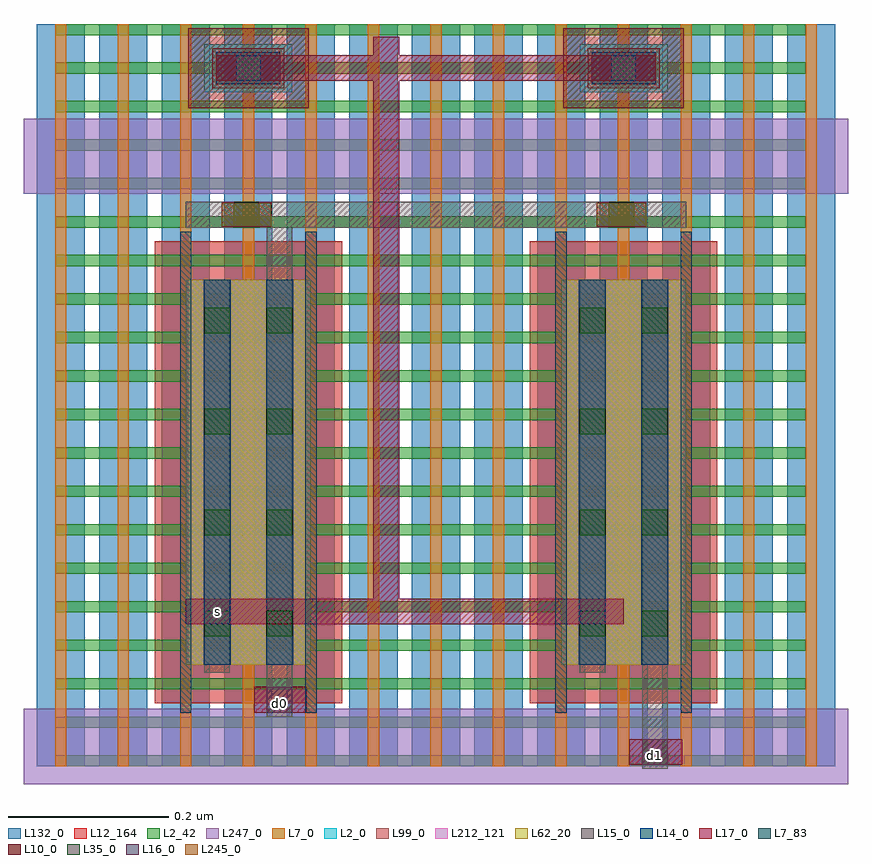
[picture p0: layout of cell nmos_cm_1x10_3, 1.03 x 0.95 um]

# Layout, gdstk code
import gdstk
lib = gdstk.Library(unit=1e-6, precision=1e-12)
def R(c, l, rs):  # rectangles x0, y0, x1, y1
    for r in rs: c.add(gdstk.rectangle(r[:2], r[2:], *l))
def A(c, l, x, y, w, h, nx, ny, dx, dy):  # array of equal rectangles
    R(c, l, [(x+i*dx, y+j*dy, x+i*dx+w, y+j*dy+h) for i in range(nx) for j in range(ny)])
L2_0 = (2, 0)
L2_42 = (2, 42)
L7_0 = (7, 0)
L7_83 = (7, 83)
L10_0 = (10, 0)
L12_164 = (12, 164)
L14_0 = (14, 0)
L15_0 = (15, 0)
L16_0 = (16, 0)
L17_0 = (17, 0)
L35_0 = (35, 0)
L62_20 = (62, 20)
L99_0 = (99, 0)
L132_0 = (132, 0)
L212_121 = (212, 121)
L245_0 = (245, 0)
L247_0 = (247, 0)

nmos_cm_1x10_3 = lib.new_cell('nmos_cm_1x10_3')
R(nmos_cm_1x10_3, L2_0, [(0.186,0.127,0.342,0.607), (0.654,0.127,0.81,0.607), (0.209,0.841,0.319,0.901), (0.677,0.841,0.787,0.901)])
A(nmos_cm_1x10_3, L2_42, 0.023, 0, 0.936, 0.014, 1, 20, 0, 0.048)
A(nmos_cm_1x10_3, L7_0, 0.023, 0, 0.014, 0.926, 13, 1, 0.078, 0)
R(nmos_cm_1x10_3, L7_83, [(0.179,0.067,0.193,0.667), (0.335,0.067,0.349,0.667), (0.647,0.067,0.661,0.667), (0.803,0.067,0.817,0.667)])
R(nmos_cm_1x10_3, L10_0, [(0.189,0.821,0.339,0.921), (0.657,0.821,0.807,0.921)])
R(nmos_cm_1x10_3, L12_164, [(0.147,0.079,0.381,0.655), (0.615,0.079,0.849,0.655)])
R(nmos_cm_1x10_3, L14_0, [(0.208,0.127,0.242,0.607), (0.286,0.127,0.32,0.607), (0.676,0.127,0.71,0.607), (0.754,0.127,0.788,0.607), (0.224,0.851,0.304,0.891), (0.692,0.851,0.772,0.891)])
R(nmos_cm_1x10_3, L15_0, [(0.755,-0.003,0.787,0.122), (0.287,0.062,0.319,0.122), (0.209,0.117,0.241,0.607), (0.287,0.117,0.319,0.607), (0.677,0.117,0.709,0.607), (0.755,0.117,0.787,0.607), (0.287,0.606,0.319,0.704), (0.186,0.672,0.342,0.704), (0.186,0.672,0.654,0.704), (0.654,0.672,0.81,0.704), (0.224,0.855,0.304,0.887), (0.692,0.855,0.772,0.887)])
R(nmos_cm_1x10_3, L16_0, [(0.755,0.002,0.787,0.034), (0.287,0.067,0.319,0.099), (0.209,0.177,0.241,0.209), (0.677,0.177,0.709,0.209), (0.248,0.855,0.28,0.887), (0.716,0.855,0.748,0.887)])
R(nmos_cm_1x10_3, L17_0, [(0.739,0.002,0.805,0.034), (0.271,0.067,0.337,0.099), (0.186,0.177,0.264,0.209), (0.186,0.177,0.654,0.209), (0.42,0.177,0.452,0.91), (0.654,0.177,0.732,0.209), (0.224,0.855,0.304,0.887), (0.264,0.855,0.732,0.887), (0.692,0.855,0.772,0.887)])
A(nmos_cm_1x10_3, L35_0, 0.209, 0.162, 0.032, 0.032, 1, 4, 0, 0.126)
A(nmos_cm_1x10_3, L35_0, 0.287, 0.162, 0.032, 0.032, 1, 4, 0, 0.126)
A(nmos_cm_1x10_3, L35_0, 0.677, 0.162, 0.032, 0.032, 1, 4, 0, 0.126)
A(nmos_cm_1x10_3, L35_0, 0.755, 0.162, 0.032, 0.032, 1, 4, 0, 0.126)
R(nmos_cm_1x10_3, L35_0, [(0.2455,0.672,0.2775,0.704), (0.7135,0.672,0.7455,0.704), (0.248,0.855,0.28,0.887), (0.716,0.855,0.748,0.887)])
R(nmos_cm_1x10_3, L62_20, [(0.186,0.127,0.342,0.607), (0.654,0.127,0.81,0.607)])
R(nmos_cm_1x10_3, L99_0, [(0.186,0.127,0.342,0.607), (0.654,0.127,0.81,0.607), (0.219,0.846,0.309,0.896), (0.687,0.846,0.777,0.896)])
A(nmos_cm_1x10_3, L132_0, 0, 0, 0.06, 0.926, 13, 1, 0.078, 0)
R(nmos_cm_1x10_3, L212_121, [(0.186,0.127,0.342,0.607), (0.654,0.127,0.81,0.607)])
R(nmos_cm_1x10_3, L245_0, [(0.2305,0.673,0.2925,0.703), (0.6985,0.673,0.7605,0.703)])
R(nmos_cm_1x10_3, L247_0, [(-0.016,-0.022,0.544,0.072), (0.452,-0.022,1.012,0.072), (-0.016,0.714,0.544,0.808), (0.452,0.714,1.012,0.808)])
nmos_cm_1x10_3.add(gdstk.Label('d0', (0.303,0.078), layer=15, texttype=20))
nmos_cm_1x10_3.add(gdstk.Label('d1', (0.771,0.013), layer=15, texttype=20))
nmos_cm_1x10_3.add(gdstk.Label('s', (0.225,0.193), layer=15, texttype=20))

lib.write_gds('nmos_cm_1x10_3.gds')
